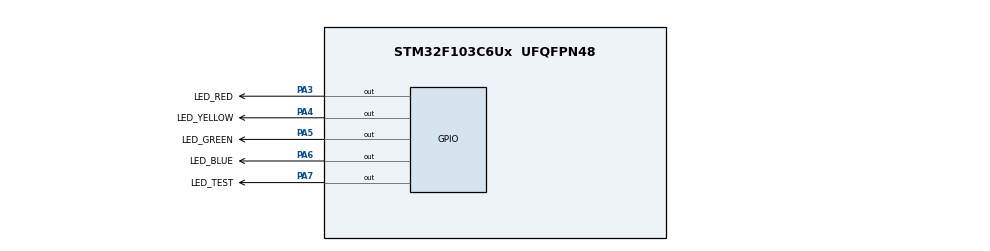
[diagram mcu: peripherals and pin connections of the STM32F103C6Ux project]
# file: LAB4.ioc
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Mcu.Family=STM32F1
Mcu.Name=STM32F103C6Ux
Mcu.Package=UFQFPN48
NVIC.PriorityGroup=NVIC_PRIORITYGROUP_4
NVIC.TIM2_IRQn=true\:0\:0\:false\:false\:true\:true\:true
PA3.GPIO_Label=LED_RED
PA3.Signal=GPIO_Output
PA4.GPIO_Label=LED_YELLOW
PA4.Signal=GPIO_Output
PA5.GPIO_Label=LED_GREEN
PA5.Signal=GPIO_Output
PA6.GPIO_Label=LED_BLUE
PA6.Signal=GPIO_Output
PA7.GPIO_Label=LED_TEST
PA7.Signal=GPIO_Output
ProjectManager.HeapSize=0x200
ProjectManager.StackSize=0x400
ProjectManager.TargetToolchain=STM32CubeIDE
RCC.APB1Freq_Value=8000000
RCC.APB2Freq_Value=8000000
TIM2.Period=10
TIM2.Prescaler=7999
VP_SYS_VS_ND.Mode=No_Debug
VP_TIM2_VS_ClockSourceINT.Mode=Internal
board=custom

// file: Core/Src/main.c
/* USER CODE BEGIN Header */
/**
  ******************************************************************************
  * @file           : main.c
  * @brief          : Main program body
  ******************************************************************************
  * @attention
  *
  * <h2><center>&copy; Copyright (c) 2022 STMicroelectronics.
  * All rights reserved.</center></h2>
  *
  * This software component is licensed by ST under BSD 3-Clause license,
  * the "License"; You may not use this file except in compliance with the
  * License. You may obtain a copy of the License at:
  *                        opensource.org/licenses/BSD-3-Clause
  *
  ******************************************************************************
  */
/* USER CODE END Header */
#include "main.h"

/* USER CODE BEGIN Includes */
#include "scheduler.h"
#include "Led_Blinky.h"
/* USER CODE END Includes */

TIM_HandleTypeDef htim2;

void SystemClock_Config(void);
static void MX_GPIO_Init(void);
static void MX_TIM2_Init(void);

/* USER CODE BEGIN 0 */
int flag = 0;
/* USER CODE END 0 */

int main(void)
{

  /* MCU Configuration--------------------------------------------------------*/

  /* Reset of all peripherals, Initializes the Flash interface and the Systick. */
  HAL_Init();

  /* Configure the system clock */
  SystemClock_Config();

  /* Initialize all configured peripherals */
  MX_GPIO_Init();
  MX_TIM2_Init();
  /* USER CODE BEGIN 2 */
  HAL_TIMEx_HallSensor_Start_IT(&htim2);
  /* USER CODE END 2 */

  /* Infinite loop */
  /* USER CODE BEGIN WHILE */
  HAL_GPIO_WritePin(GPIOA, LED_RED_Pin | LED_YELLOW_Pin | LED_GREEN_Pin | LED_BLUE_Pin, SET);

    SCH_Init();

    SCH_Add_Task(Led_Red, 500, 500);
    SCH_Add_Task(Led_Yellow, 510, 1000);
    SCH_Add_Task(Led_Green, 520, 1500);
    SCH_Add_Task(Led_Blue, 540, 2500);

  while (1)
  {
    /* USER CODE END WHILE */

    /* USER CODE BEGIN 3 */
	  if(flag) {
		  SCH_Update();
	  	  flag = 0;
	  }
	  SCH_Dispatch_Tasks();

  }
  /* USER CODE END 3 */
}

void SystemClock_Config(void)
{
  RCC_OscInitTypeDef RCC_OscInitStruct = {0};
  RCC_ClkInitTypeDef RCC_ClkInitStruct = {0};

  /** Initializes the RCC Oscillators according to the specified parameters
  * in the RCC_OscInitTypeDef structure.
  */
  RCC_OscInitStruct.OscillatorType = RCC_OSCILLATORTYPE_HSI;
  RCC_OscInitStruct.HSIState = RCC_HSI_ON;
  RCC_OscInitStruct.HSICalibrationValue = RCC_HSICALIBRATION_DEFAULT;
  RCC_OscInitStruct.PLL.PLLState = RCC_PLL_NONE;
  if (HAL_RCC_OscConfig(&RCC_OscInitStruct) != HAL_OK)
  {
    Error_Handler();
  }
  /** Initializes the CPU, AHB and APB buses clocks
  */
  RCC_ClkInitStruct.ClockType = RCC_CLOCKTYPE_HCLK|RCC_CLOCKTYPE_SYSCLK
                              |RCC_CLOCKTYPE_PCLK1|RCC_CLOCKTYPE_PCLK2;
  RCC_ClkInitStruct.SYSCLKSource = RCC_SYSCLKSOURCE_HSI;
  RCC_ClkInitStruct.AHBCLKDivider = RCC_SYSCLK_DIV1;
  RCC_ClkInitStruct.APB1CLKDivider = RCC_HCLK_DIV1;
  RCC_ClkInitStruct.APB2CLKDivider = RCC_HCLK_DIV1;

  if (HAL_RCC_ClockConfig(&RCC_ClkInitStruct, FLASH_LATENCY_0) != HAL_OK)
  {
    Error_Handler();
  }
}

static void MX_TIM2_Init(void)
{

  TIM_ClockConfigTypeDef sClockSourceConfig = {0};
  TIM_MasterConfigTypeDef sMasterConfig = {0};

  htim2.Instance = TIM2;
  htim2.Init.Prescaler = 7999;
  htim2.Init.CounterMode = TIM_COUNTERMODE_UP;
  htim2.Init.Period = 10;
  htim2.Init.ClockDivision = TIM_CLOCKDIVISION_DIV1;
  htim2.Init.AutoReloadPreload = TIM_AUTORELOAD_PRELOAD_DISABLE;
  if (HAL_TIM_Base_Init(&htim2) != HAL_OK)
  {
    Error_Handler();
  }
  sClockSourceConfig.ClockSource = TIM_CLOCKSOURCE_INTERNAL;
  if (HAL_TIM_ConfigClockSource(&htim2, &sClockSourceConfig) != HAL_OK)
  {
    Error_Handler();
  }
  sMasterConfig.MasterOutputTrigger = TIM_TRGO_RESET;
  sMasterConfig.MasterSlaveMode = TIM_MASTERSLAVEMODE_DISABLE;
  if (HAL_TIMEx_MasterConfigSynchronization(&htim2, &sMasterConfig) != HAL_OK)
  {
    Error_Handler();
  }

}

static void MX_GPIO_Init(void)
{
  GPIO_InitTypeDef GPIO_InitStruct = {0};

  /* GPIO Ports Clock Enable */
  __HAL_RCC_GPIOA_CLK_ENABLE();

  /*Configure GPIO pin Output Level */
  HAL_GPIO_WritePin(GPIOA, LED_RED_Pin|LED_YELLOW_Pin|LED_GREEN_Pin|LED_BLUE_Pin
                          |LED_TEST_Pin, GPIO_PIN_RESET);

  /*Configure GPIO pins : LED_RED_Pin LED_YELLOW_Pin LED_GREEN_Pin LED_BLUE_Pin
                           LED_TEST_Pin */
  GPIO_InitStruct.Pin = LED_RED_Pin|LED_YELLOW_Pin|LED_GREEN_Pin|LED_BLUE_Pin
                          |LED_TEST_Pin;
  GPIO_InitStruct.Mode = GPIO_MODE_OUTPUT_PP;
  GPIO_InitStruct.Pull = GPIO_NOPULL;
  GPIO_InitStruct.Speed = GPIO_SPEED_FREQ_LOW;
  HAL_GPIO_Init(GPIOA, &GPIO_InitStruct);

}

/* USER CODE BEGIN 4 */
int counter = 500;
void HAL_TIM_PeriodElapsedCallback(TIM_HandleTypeDef *htim) {
	flag = 1;
	counter--;
	if(counter <= 0) {
		counter = 500;
		HAL_GPIO_TogglePin(LED_TEST_GPIO_Port, LED_TEST_Pin);
	}
}
/* USER CODE END 4 */

void Error_Handler(void)
{
  __disable_irq();
  while (1)
  {
  }
}

/************************ (C) COPYRIGHT STMicroelectronics *****END OF FILE****/
